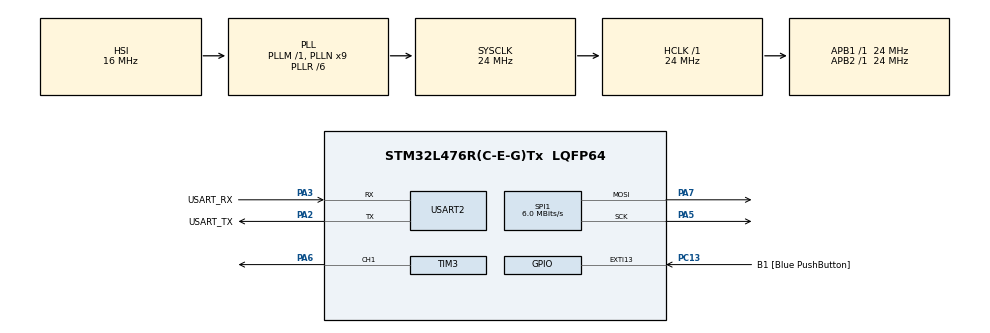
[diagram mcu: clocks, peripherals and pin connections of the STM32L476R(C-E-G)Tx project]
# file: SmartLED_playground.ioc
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Dma.Request0=TIM3_CH1/TRIG
Dma.TIM3_CH1/TRIG.0.Direction=DMA_MEMORY_TO_PERIPH
Dma.TIM3_CH1/TRIG.0.Instance=DMA1_Channel6
Dma.TIM3_CH1/TRIG.0.MemDataAlignment=DMA_MDATAALIGN_BYTE
Dma.TIM3_CH1/TRIG.0.MemInc=DMA_MINC_ENABLE
Dma.TIM3_CH1/TRIG.0.Mode=DMA_NORMAL
Dma.TIM3_CH1/TRIG.0.PeriphDataAlignment=DMA_PDATAALIGN_HALFWORD
Dma.TIM3_CH1/TRIG.0.PeriphInc=DMA_PINC_DISABLE
Dma.TIM3_CH1/TRIG.0.Priority=DMA_PRIORITY_LOW
Mcu.Family=STM32L4
Mcu.Name=STM32L476R(C-E-G)Tx
Mcu.Package=LQFP64
NVIC.DMA1_Channel6_IRQn=true\:0\:0\:false\:false\:true\:false\:true\:true
NVIC.PriorityGroup=NVIC_PRIORITYGROUP_4
PA13\ (JTMS-SWDIO).GPIO_Label=TMS
PA13\ (JTMS-SWDIO).Mode=Serial_Wire
PA13\ (JTMS-SWDIO).Signal=SYS_JTMS-SWDIO
PA14\ (JTCK-SWCLK).GPIO_Label=TCK
PA14\ (JTCK-SWCLK).Mode=Serial_Wire
PA14\ (JTCK-SWCLK).Signal=SYS_JTCK-SWCLK
PA2.GPIO_Label=USART_TX
PA2.GPIO_Mode=GPIO_MODE_AF_PP
PA2.GPIO_PuPd=GPIO_NOPULL
PA2.GPIO_Speed=GPIO_SPEED_FREQ_VERY_HIGH
PA2.Mode=Asynchronous
PA2.Signal=USART2_TX
PA3.GPIO_Label=USART_RX
PA3.GPIO_Mode=GPIO_MODE_AF_PP
PA3.GPIO_PuPd=GPIO_NOPULL
PA3.GPIO_Speed=GPIO_SPEED_FREQ_VERY_HIGH
PA3.Mode=Asynchronous
PA3.Signal=USART2_RX
PA5.Mode=TX_Only_Simplex_Unidirect_Master
PA5.Signal=SPI1_SCK
PA6.Signal=S_TIM3_CH1
PA7.Mode=TX_Only_Simplex_Unidirect_Master
PA7.Signal=SPI1_MOSI
PB3\ (JTDO-TRACESWO).GPIO_Label=SWO
PB3\ (JTDO-TRACESWO).Signal=SYS_JTDO-SWO
PC13.GPIO_Label=B1 [Blue PushButton]
PC13.GPIO_ModeDefaultEXTI=GPIO_MODE_IT_FALLING
PC13.GPIO_PuPd=GPIO_NOPULL
PC13.Signal=GPXTI13
PC14-OSC32_IN\ (PC14).Mode=LSE-External-Oscillator
PC14-OSC32_IN\ (PC14).Signal=RCC_OSC32_IN
PC15-OSC32_OUT\ (PC15).Mode=LSE-External-Oscillator
PC15-OSC32_OUT\ (PC15).Signal=RCC_OSC32_OUT
PH0-OSC_IN\ (PH0).Signal=RCC_OSC_IN
PH1-OSC_OUT\ (PH1).Signal=RCC_OSC_OUT
ProjectManager.HeapSize=0x200
ProjectManager.StackSize=0x400
ProjectManager.TargetToolchain=STM32CubeIDE
RCC.ADCFreq_Value=64000000
RCC.AHBFreq_Value=24000000
RCC.APB1Freq_Value=24000000
RCC.APB1TimFreq_Value=24000000
RCC.APB2Freq_Value=24000000
RCC.APB2TimFreq_Value=24000000
RCC.CortexFreq_Value=24000000
RCC.HCLKFreq_Value=24000000
RCC.HSE_VALUE=8000000
RCC.HSI_VALUE=16000000
RCC.MSI_VALUE=4000000
RCC.PLLN=9
RCC.PLLR=RCC_PLLR_DIV6
RCC.PLLSourceVirtual=RCC_PLLSOURCE_HSI
RCC.SYSCLKFreq_VALUE=24000000
RCC.SYSCLKSource=RCC_SYSCLKSOURCE_PLLCLK
RCC.USBFreq_Value=64000000
RCC.VCOOutputFreq_Value=144000000
SH.S_TIM3_CH1.0=TIM3_CH1,PWM Generation1 CH1
SPI1.BaudRatePrescaler=SPI_BAUDRATEPRESCALER_4
SPI1.CalculateBaudRate=6.0 MBits/s
SPI1.DataSize=SPI_DATASIZE_6BIT
SPI1.Direction=SPI_DIRECTION_2LINES
SPI1.Mode=SPI_MODE_MASTER
SPI1.VirtualType=VM_MASTER
TIM3.Channel-PWM\ Generation1\ CH1=TIM_CHANNEL_1
TIM3.Period=99
USART2.VirtualMode-Asynchronous=VM_ASYNC
VP_TIM3_VS_ClockSourceINT.Mode=Internal
board=NUCLEO-L476RG

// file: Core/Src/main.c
/* USER CODE BEGIN Header */
/**
  ******************************************************************************
  * @file           : main.c
  * @brief          : Main program body
  ******************************************************************************
  * @attention
  *
  * Copyright (c) 2025 STMicroelectronics.
  * All rights reserved.
  *
  * This software is licensed under terms that can be found in the LICENSE file
  * in the root directory of this software component.
  * If no LICENSE file comes with this software, it is provided AS-IS.
  *
  ******************************************************************************
  */
/* USER CODE END Header */
#include "main.h"
#include "dma.h"
#include "spi.h"
#include "tim.h"
#include "usart.h"
#include "gpio.h"

/* USER CODE BEGIN Includes */
#include "led_control.h"
/* USER CODE END Includes */

void SystemClock_Config(void);

int main(void)
{

  /* MCU Configuration--------------------------------------------------------*/

  /* Reset of all peripherals, Initializes the Flash interface and the Systick. */
  HAL_Init();

  /* Configure the system clock */
  SystemClock_Config();

  /* Initialize all configured peripherals */
  MX_GPIO_Init();
  MX_DMA_Init();
  MX_USART2_UART_Init();
  MX_TIM3_Init();
  MX_SPI1_Init();
  /* USER CODE BEGIN 2 */

  led_init(&hspi1);

  led_color_t first_led_color;
  first_led_color.green = 1;
  first_led_color.red = 0;
  first_led_color.blue = 0;

  led_color_t second_led_color;
  second_led_color.green = 1;
  second_led_color.red = 0;
  second_led_color.blue = 0;

  led_color_t third_led_color;
  second_led_color.green = 1;
  second_led_color.red = 0;
  second_led_color.blue = 0;

  led_color_t fourth_led_color;
  second_led_color.green = 1;
  second_led_color.red = 0;
  second_led_color.blue = 0;

  led_color_t fifth_led_color;
  second_led_color.green = 1;
  second_led_color.red = 0;
  second_led_color.blue = 0;

  led_color_t sixth_led_color;
  second_led_color.green = 1;
  second_led_color.red = 0;
  second_led_color.blue = 0;

  led_color_t seventh_led_color;
  second_led_color.green = 1;
  second_led_color.red = 0;
  second_led_color.blue = 0;

  led_color_t eightth_led_color;
  second_led_color.green = 1;
  second_led_color.red = 0;
  second_led_color.blue = 0;

  led_setDiodeColor(0, first_led_color);
  led_setDiodeColor(1, second_led_color);
  led_setDiodeColor(2, third_led_color);
  led_setDiodeColor(3, fourth_led_color);
  led_setDiodeColor(4, fifth_led_color);
  led_setDiodeColor(5, sixth_led_color);
  led_setDiodeColor(6, seventh_led_color);
  led_setDiodeColor(7, eightth_led_color);
  led_update();

  /* USER CODE END 2 */

  /* Infinite loop */
  /* USER CODE BEGIN WHILE */
  while (1)
  {
	  first_led_color.green = 1;
	  first_led_color.red = 0;
	  first_led_color.blue = 0;
	  second_led_color.green = 1;
	  second_led_color.red = 0;
	  second_led_color.blue = 0;
	  led_setDiodeColor(0, first_led_color);
	  led_setDiodeColor(1, second_led_color);
	  led_update();
	  HAL_Delay(200);

	  first_led_color.green = 0;
	  first_led_color.red = 0;
	  first_led_color.blue = 0;
	  second_led_color.green = 0;
	  second_led_color.red = 0;
	  second_led_color.blue = 0;
	  led_setDiodeColor(0, first_led_color);
	  led_setDiodeColor(1, second_led_color);
	  led_update();
	  HAL_Delay(200);
    /* USER CODE END WHILE */

  }
}

void SystemClock_Config(void)
{
  RCC_OscInitTypeDef RCC_OscInitStruct = {0};
  RCC_ClkInitTypeDef RCC_ClkInitStruct = {0};

  /** Configure the main internal regulator output voltage
  */
  if (HAL_PWREx_ControlVoltageScaling(PWR_REGULATOR_VOLTAGE_SCALE1) != HAL_OK)
  {
    Error_Handler();
  }

  /** Initializes the RCC Oscillators according to the specified parameters
  * in the RCC_OscInitTypeDef structure.
  */
  RCC_OscInitStruct.OscillatorType = RCC_OSCILLATORTYPE_HSI;
  RCC_OscInitStruct.HSIState = RCC_HSI_ON;
  RCC_OscInitStruct.HSICalibrationValue = RCC_HSICALIBRATION_DEFAULT;
  RCC_OscInitStruct.PLL.PLLState = RCC_PLL_ON;
  RCC_OscInitStruct.PLL.PLLSource = RCC_PLLSOURCE_HSI;
  RCC_OscInitStruct.PLL.PLLM = 1;
  RCC_OscInitStruct.PLL.PLLN = 9;
  RCC_OscInitStruct.PLL.PLLP = RCC_PLLP_DIV7;
  RCC_OscInitStruct.PLL.PLLQ = RCC_PLLQ_DIV2;
  RCC_OscInitStruct.PLL.PLLR = RCC_PLLR_DIV6;
  if (HAL_RCC_OscConfig(&RCC_OscInitStruct) != HAL_OK)
  {
    Error_Handler();
  }

  /** Initializes the CPU, AHB and APB buses clocks
  */
  RCC_ClkInitStruct.ClockType = RCC_CLOCKTYPE_HCLK|RCC_CLOCKTYPE_SYSCLK
                              |RCC_CLOCKTYPE_PCLK1|RCC_CLOCKTYPE_PCLK2;
  RCC_ClkInitStruct.SYSCLKSource = RCC_SYSCLKSOURCE_PLLCLK;
  RCC_ClkInitStruct.AHBCLKDivider = RCC_SYSCLK_DIV1;
  RCC_ClkInitStruct.APB1CLKDivider = RCC_HCLK_DIV1;
  RCC_ClkInitStruct.APB2CLKDivider = RCC_HCLK_DIV1;

  if (HAL_RCC_ClockConfig(&RCC_ClkInitStruct, FLASH_LATENCY_1) != HAL_OK)
  {
    Error_Handler();
  }
}

void Error_Handler(void)
{
  __disable_irq();
  while (1)
  {
  }
}
